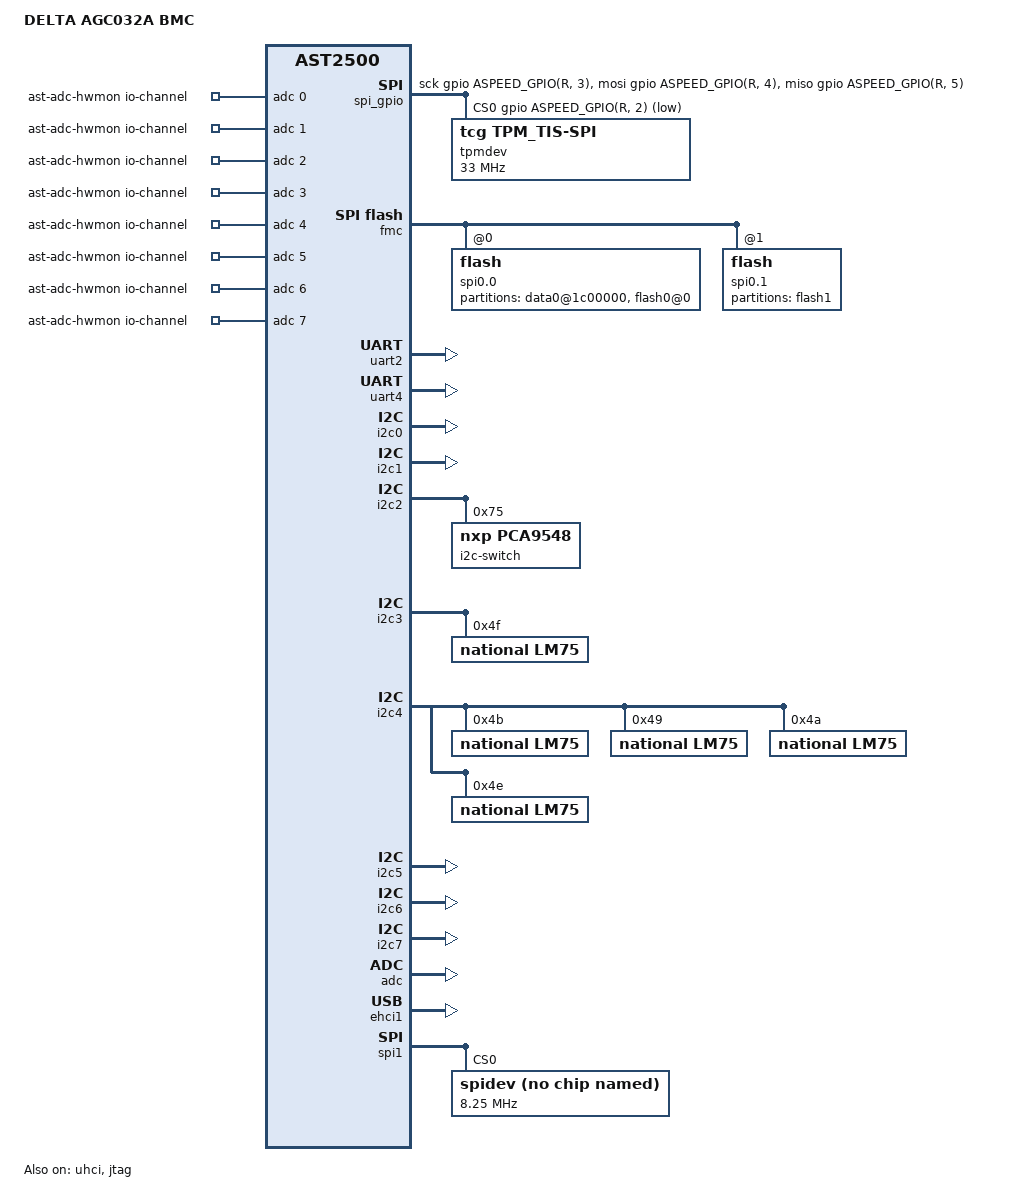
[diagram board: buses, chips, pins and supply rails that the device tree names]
// SPDX-License-Identifier: GPL-2.0+
// Delta Electronic, Inc.
/dts-v1/;

#include <dt-bindings/gpio/aspeed-gpio.h>
#include "facebook-netbmc-ast2500-common.dtsi"

/ {
	model = "DELTA AGC032A BMC";
	compatible = "delta,agc032a-bmc", "aspeed,ast2500";

	aliases {
		/*
		 * I2C switch 2-0075, pca9548, total 8 child channels
		 * assigned bus number 8-15.
		 */
		i2c8 = &imux8;
		i2c9 = &imux9;
		i2c10 = &imux10;
		i2c11 = &imux11;
		i2c12 = &imux12;
		i2c13 = &imux13;
		i2c14 = &imux14;
		i2c15 = &imux15;

		spi1 = &spi1;
		spi2 = &spi_gpio;
		serial4 = &uart5;
	};

	chosen {
		stdout-path = &uart5;
		bootargs = "console=ttyS4,115200n8 root=/dev/ram rw";
	};

	ast-adc-hwmon {
		compatible = "iio-hwmon";
		io-channels = <&adc 0>, <&adc 1>, <&adc 2>, <&adc 3>,
			      <&adc 4>, <&adc 5>, <&adc 6>, <&adc 7>;
	};

	spi_gpio: spi-gpio {
		status = "okay";
		compatible = "spi-gpio";
		#address-cells = <1>;
		#size-cells = <0>;

		gpio-sck = <&gpio ASPEED_GPIO(R, 3) GPIO_ACTIVE_HIGH>;
		gpio-mosi = <&gpio ASPEED_GPIO(R, 4) GPIO_ACTIVE_HIGH>;
		gpio-miso = <&gpio ASPEED_GPIO(R, 5) GPIO_ACTIVE_HIGH>;
		num-chipselects = <1>;
		cs-gpios = <&gpio ASPEED_GPIO(R, 2) GPIO_ACTIVE_LOW>;

		tpmdev@0 {
			compatible = "tcg,tpm_tis-spi";
			spi-max-frequency = <33000000>;
			reg = <0>;
		};
	};
};

&fmc {
	status = "okay";

	flash@0 {
		status = "okay";
		m25p,fast-read;
		label = "spi0.0";
#include "facebook-bmc-flash-layout.dtsi"

		partitions {
			data0@1c00000 {
				reg = <0x1c00000 0x6400000>;
			};

			flash0@0 {
				reg = <0x0 0x8000000>;
			};
		};
	};

	flash@1 {
		status = "okay";
		m25p,fast-read;
		label = "spi0.1";

		partitions {
			compatible = "fixed-partitions";
			#address-cells = <1>;
			#size-cells = <1>;

			flash1@0 {
				reg = <0x0 0x8000000>;
				label = "flash1";
			};
		};
	};
};

&uart2 {
	status = "okay";
	pinctrl-names = "default";
	pinctrl-0 = <&pinctrl_txd2_default
		     &pinctrl_rxd2_default>;
};

&uart4 {
	status = "okay";
	pinctrl-names = "default";
	pinctrl-0 = <&pinctrl_txd4_default
		     &pinctrl_rxd4_default>;
};

&i2c0 {
	status = "okay";
	multi-master;
	bus-frequency = <1000000>;
	aspeed,hw-timeout-ms = <1000>;
};

&i2c1 {
	status = "okay";
};

&i2c2 {
	status = "okay";

	i2c-switch@75 {
		compatible = "nxp,pca9548";
		#address-cells = <1>;
		#size-cells = <0>;
		reg = <0x75>;

		imux8: i2c@0 {
			#address-cells = <1>;
			#size-cells = <0>;
			reg = <0>;
		};

		imux9: i2c@1 {
			#address-cells = <1>;
			#size-cells = <0>;
			reg = <1>;
		};

		imux10: i2c@2 {
			#address-cells = <1>;
			#size-cells = <0>;
			reg = <2>;
		};

		imux11: i2c@3 {
			#address-cells = <1>;
			#size-cells = <0>;
			reg = <3>;
		};

		imux12: i2c@4 {
			#address-cells = <1>;
			#size-cells = <0>;
			reg = <4>;
		};

		imux13: i2c@5 {
			#address-cells = <1>;
			#size-cells = <0>;
			reg = <5>;
		};

		imux14: i2c@6 {
			#address-cells = <1>;
			#size-cells = <0>;
			reg = <6>;
		};

		imux15: i2c@7 {
			#address-cells = <1>;
			#size-cells = <0>;
			reg = <7>;
		};
	};
};


&i2c3 {
	status = "okay";

	lm75@4f {
		compatible = "national,lm75";
		reg = <0x4f>;
	};
};

&i2c4 {
	status = "okay";

	lm75@4b {
		compatible = "national,lm75";
		reg = <0x4b>;
	};
	lm75@49 {
		compatible = "national,lm75";
		reg = <0x49>;
	};
	lm75@4a {
		compatible = "national,lm75";
		reg = <0x4a>;
	};
	lm75@4e {
		compatible = "national,lm75";
		reg = <0x4e>;
	};
};

&i2c5 {
	status = "okay";
};

&i2c6 {
	status = "okay";
};

&i2c7 {
	status = "okay";
};

&adc {
	status = "okay";
};

&ehci1 {
	status = "okay";
};

&uhci {
	status = "okay";
};

&sdhci1 {
	aspeed,sdhci-disable-dma;
};

&gpio {
	pin_gpio_a3 {
		gpios = <&gpio ASPEED_GPIO(A, 3) GPIO_ACTIVE_LOW>;
		output;
		line-name = "BMC_EMMC_RST_N_R";
	};

	pin_gpio_aa0 {
		gpios = <&gpio ASPEED_GPIO(AA, 0) GPIO_ACTIVE_LOW>;
		input;
		line-name = "DEBUG_PRESENT_N";
	};

	pin_gpio_aa1 {
		gpios = <&gpio ASPEED_GPIO(AA, 1) GPIO_ACTIVE_LOW>;
		output;
		line-name = "SYS_CPLD_RST_N";
	};

	pin_gpio_aa2 {
		gpios = <&gpio ASPEED_GPIO(AA, 2) GPIO_ACTIVE_LOW>;
		input;
		line-name = "SYS_CPLD_INT_N";
	};

	pin_gpio_aa7 {
		gpios = <&gpio ASPEED_GPIO(AA, 7) GPIO_ACTIVE_LOW>;
		output;
		line-name = "BMC_SCM_CPLD_EN";
	};

	pin_gpio_ab0 {
		gpios = <&gpio ASPEED_GPIO(AB, 0) GPIO_ACTIVE_HIGH>;
		input;
		line-name = "CPLD_INT_BMC";
	};

	pin_gpio_ac5 {
		gpios = <&gpio ASPEED_GPIO(AC, 5) GPIO_ACTIVE_LOW>;
		input;
		line-name = "SCM_LPC_FRAME_N";
	};

	pin_gpio_ac6 {
		gpios = <&gpio ASPEED_GPIO(AC, 6) GPIO_ACTIVE_LOW>;
		input;
		line-name = "SCM_LPC_SERIRQ_N";
	};

	pin_gpio_ac7 {
		gpios = <&gpio ASPEED_GPIO(AC, 7) GPIO_ACTIVE_LOW>;
		input;
		line-name = "BMC_LPCRST_N";
	};

	pin_gpio_e2 {
		gpios = <&gpio ASPEED_GPIO(E, 2) GPIO_ACTIVE_HIGH>;
		input;
		line-name = "TH3_POWER_OK";
	};

	pin_gpio_f4 {
		gpios = <&gpio ASPEED_GPIO(F, 4) GPIO_ACTIVE_HIGH>;
		input;
		line-name = "CPU_CATERR_MSMI";
	};

	pin_gpio_g0 {
		gpios = <&gpio ASPEED_GPIO(G, 0) GPIO_ACTIVE_HIGH>;
		output;
		line-name = "BMC_JTAG_MUX_IN";
	};

	pin_gpio_g1 {
		gpios = <&gpio ASPEED_GPIO(G, 1) GPIO_ACTIVE_LOW>;
		output;
		line-name = "DOM_FPGA1_JTAG_EN_N";
	};

	pin_gpio_g2 {
		gpios = <&gpio ASPEED_GPIO(G, 2) GPIO_ACTIVE_LOW>;
		output;
		line-name = "DOM_FPGA2_JTAG_EN_N";
	};

	pin_gpio_g4 {
		gpios = <&gpio ASPEED_GPIO(G, 4) GPIO_ACTIVE_HIGH>;
		input;
		line-name = "BMC_CPLD_BOARD_REV_ID0";
	};

	pin_gpio_g5 {
		gpios = <&gpio ASPEED_GPIO(G, 5) GPIO_ACTIVE_HIGH>;
		input;
		line-name = "BMC_CPLD_BOARD_REV_ID1";
	};

	pin_gpio_g6 {
		gpios = <&gpio ASPEED_GPIO(G, 6) GPIO_ACTIVE_HIGH>;
		input;
		line-name = "BMC_CPLD_BOARD_TYPE";
	};

	pin_gpio_g7 {
		gpios = <&gpio ASPEED_GPIO(G, 7) GPIO_ACTIVE_HIGH>;
		input;
		line-name = "BMC_CPLD_BOARD_REV_ID2";
	};

	pin_gpio_i4 {
		gpios = <&gpio ASPEED_GPIO(I, 4) GPIO_ACTIVE_HIGH>;
		output;
		line-name = "BMC_SPI1_CS0";
	};

	pin_gpio_i5 {
		gpios = <&gpio ASPEED_GPIO(I, 5) GPIO_ACTIVE_HIGH>;
		output;
		line-name = "BMC_SPI1_CLK";
	};

	pin_gpio_i6 {
		gpios = <&gpio ASPEED_GPIO(I, 6) GPIO_ACTIVE_HIGH>;
		line-name = "BMC_SPI1_MOSI";
	};

	pin_gpio_i7 {
		gpios = <&gpio ASPEED_GPIO(I, 7) GPIO_ACTIVE_HIGH>;
		line-name = "BMC_SPI1_MISO";
	};

	pin_gpio_j0 {
		gpios = <&gpio ASPEED_GPIO(J, 0) GPIO_ACTIVE_HIGH>;
		output;
		line-name = "PWR_CPLD_JTAG_EN_N";
	};

	pin_gpio_j1 {
		gpios = <&gpio ASPEED_GPIO(J, 1) GPIO_ACTIVE_LOW>;
		output;
		line-name = "SYS_CPLD_JTAG_EN_N";
	};

	pin_gpio_j2 {
		gpios = <&gpio ASPEED_GPIO(J, 2) GPIO_ACTIVE_LOW>;
		output;
		line-name = "SCM_CPLD_JTAG_EN_N";
	};

	pin_gpio_j3 {
		gpios = <&gpio ASPEED_GPIO(J, 3) GPIO_ACTIVE_LOW>;
		output;
		line-name = "FCM_CPLD_JTAG_EN_N";
	};
};

&jtag {
	status = "okay";
};

&spi1 {
	status = "okay";
	compatible = "aspeed,ast2500-spi-master";

	spidev@0 {
		compatible = "rohm,dh2228fv";
		spi-max-frequency = <8250000>;
		reg = <0>;
	};
};
